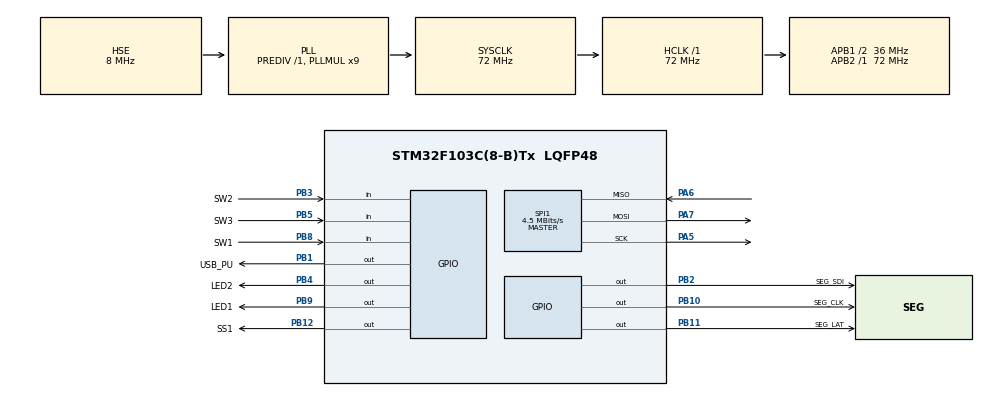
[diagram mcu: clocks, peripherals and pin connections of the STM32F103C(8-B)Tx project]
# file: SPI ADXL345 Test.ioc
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Mcu.Family=STM32F1
Mcu.Name=STM32F103C(8-B)Tx
Mcu.Package=LQFP48
NVIC.PriorityGroup=NVIC_PRIORITYGROUP_4
PA0-WKUP.GPIO_Label=POT1
PA0-WKUP.Signal=ADCx_IN0
PA1.GPIO_Label=POT2
PA1.Signal=ADCx_IN1
PA10.GPIO_Label=RGB_DI
PA10.Signal=S_TIM1_CH3
PA11.Signal=USB_DM
PA12.Signal=USB_DP
PA13.GPIO_Label=SWDIO
PA13.Mode=Serial_Wire
PA13.Signal=SYS_JTMS-SWDIO
PA14.GPIO_Label=SWCLK
PA14.Mode=Serial_Wire
PA14.Signal=SYS_JTCK-SWCLK
PA15.GPIO_Label=BUZ
PA15.Signal=S_TIM2_CH1_ETR
PA2.GPIO_Label=TX2
PA2.Signal=USART2_TX
PA3.GPIO_Label=RX2
PA3.Signal=USART2_RX
PA4.GPIO_Label=POT3
PA4.Signal=ADCx_IN4
PA5.Mode=Full_Duplex_Master
PA5.Signal=SPI1_SCK
PA6.Mode=Full_Duplex_Master
PA6.Signal=SPI1_MISO
PA7.Mode=Full_Duplex_Master
PA7.Signal=SPI1_MOSI
PA8.GPIO_Label=PWM_P
PA8.Signal=S_TIM1_CH1
PB0.GPIO_Label=PWM_B
PB0.Signal=S_TIM3_CH3
PB1.GPIO_Label=USB_PU
PB1.GPIO_Speed=GPIO_SPEED_FREQ_HIGH
PB1.PinState=GPIO_PIN_RESET
PB1.Signal=GPIO_Output
PB10.GPIO_Label=SEG_CLK
PB10.GPIO_ModeDefaultOutputPP=GPIO_MODE_OUTPUT_OD
PB10.GPIO_PuPd=GPIO_NOPULL
PB10.GPIO_Speed=GPIO_SPEED_FREQ_HIGH
PB10.PinState=GPIO_PIN_RESET
PB10.Signal=GPIO_Output
PB11.GPIO_Label=SEG_LAT
PB11.GPIO_ModeDefaultOutputPP=GPIO_MODE_OUTPUT_OD
PB11.GPIO_PuPd=GPIO_NOPULL
PB11.GPIO_Speed=GPIO_SPEED_FREQ_HIGH
PB11.PinState=GPIO_PIN_RESET
PB11.Signal=GPIO_Output
PB12.GPIO_Label=SS1
PB12.PinState=GPIO_PIN_SET
PB12.Signal=GPIO_Output
PB13.GPIO_Label=PWM_N
PB13.Signal=TIM1_CH1N
PB2.GPIO_Label=SEG_SDI
PB2.GPIO_ModeDefaultOutputPP=GPIO_MODE_OUTPUT_OD
PB2.GPIO_PuPd=GPIO_NOPULL
PB2.GPIO_Speed=GPIO_SPEED_FREQ_HIGH
PB2.PinState=GPIO_PIN_RESET
PB2.Signal=GPIO_Output
PB3.GPIO_Label=SW2
PB3.Signal=GPIO_Input
PB4.GPIO_Label=LED2
PB4.GPIO_Speed=GPIO_SPEED_FREQ_HIGH
PB4.PinState=GPIO_PIN_RESET
PB4.Signal=GPIO_Output
PB5.GPIO_Label=SW3
PB5.Signal=GPIO_Input
PB6.GPIO_Label=ROT_A
PB6.Signal=S_TIM4_CH1
PB7.GPIO_Label=ROT_B
PB7.Signal=S_TIM4_CH2
PB8.GPIO_Label=SW1
PB8.Signal=GPIO_Input
PB9.GPIO_Label=LED1
PB9.GPIO_Speed=GPIO_SPEED_FREQ_HIGH
PB9.PinState=GPIO_PIN_RESET
PB9.Signal=GPIO_Output
PD0-OSC_IN.GPIO_Label=OSC_IN
PD0-OSC_IN.Mode=HSE-External-Oscillator
PD0-OSC_IN.Signal=RCC_OSC_IN
PD1-OSC_OUT.GPIO_Label=OSC_OUT
PD1-OSC_OUT.Mode=HSE-External-Oscillator
PD1-OSC_OUT.Signal=RCC_OSC_OUT
ProjectManager.HeapSize=0x200
ProjectManager.StackSize=0x400
ProjectManager.TargetToolchain=MDK-ARM V5.27
RCC.ADCPresc=RCC_ADCPCLK2_DIV6
RCC.AHBFreq_Value=72000000
RCC.APB1CLKDivider=RCC_HCLK_DIV2
RCC.APB1Freq_Value=36000000
RCC.APB1TimFreq_Value=72000000
RCC.APB2Freq_Value=72000000
RCC.APB2TimFreq_Value=72000000
RCC.HCLKFreq_Value=72000000
RCC.PLLMUL=RCC_PLL_MUL9
RCC.PLLSourceVirtual=RCC_PLLSOURCE_HSE
RCC.SYSCLKFreq_VALUE=72000000
RCC.SYSCLKSource=RCC_SYSCLKSOURCE_PLLCLK
RCC.USBFreq_Value=48000000
RCC.USBPrescaler=RCC_USBCLKSOURCE_PLL_DIV1_5
SH.ADCx_IN0.0=ADC1_IN0
SH.ADCx_IN1.0=ADC1_IN1
SH.ADCx_IN4.0=ADC1_IN4
SH.S_TIM1_CH1.0=TIM1_CH1
SH.S_TIM1_CH3.0=TIM1_CH3
SH.S_TIM2_CH1_ETR.0=TIM2_CH1
SH.S_TIM3_CH3.0=TIM3_CH3
SH.S_TIM4_CH1.0=TIM4_CH1
SH.S_TIM4_CH2.0=TIM4_CH2
SPI1.BaudRatePrescaler=SPI_BAUDRATEPRESCALER_16
SPI1.CLKPhase=SPI_PHASE_2EDGE
SPI1.CLKPolarity=SPI_POLARITY_HIGH
SPI1.CalculateBaudRate=4.5 MBits/s
SPI1.Direction=SPI_DIRECTION_2LINES
SPI1.Mode=SPI_MODE_MASTER
SPI1.VirtualType=VM_MASTER
board=custom

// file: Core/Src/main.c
/* USER CODE BEGIN Header */
/**
  ******************************************************************************
  * @file           : main.c
  * @brief          : Main program body
  ******************************************************************************
  * @attention
  *
  * Copyright (c) 2022 STMicroelectronics.
  * All rights reserved.
  *
  * This software is licensed under terms that can be found in the LICENSE file
  * in the root directory of this software component.
  * If no LICENSE file comes with this software, it is provided AS-IS.
  *
  ******************************************************************************
  */
/* USER CODE END Header */
#include "main.h"
#include "spi.h"
#include "gpio.h"

/* USER CODE BEGIN Includes */
#include "ADXL.h"
/* USER CODE END Includes */

void SystemClock_Config(void);

int main(void)
{
  /* USER CODE BEGIN 1 */
	ADXL_InitTypeDef hadxl = {0};
	float data[3] = {0, 0, 0};
  /* USER CODE END 1 */

  /* MCU Configuration--------------------------------------------------------*/

  /* Reset of all peripherals, Initializes the Flash interface and the Systick. */
  HAL_Init();

  /* Configure the system clock */
  SystemClock_Config();

  /* Initialize all configured peripherals */
  MX_GPIO_Init();
  MX_SPI1_Init();
  /* USER CODE BEGIN 2 */
	hadxl.SPIMode = SPIMODE_4WIRE;
	hadxl.IntMode = INT_ACTIVEHIGH;
	hadxl.LPMode = LPMODE_NORMAL;
	hadxl.Rate = BWRATE_800;
	hadxl.Range = RANGE_2G;
	hadxl.Resolution = RESOLUTION_10BIT;
	hadxl.Justify = JUSTIFY_SIGNED;
	hadxl.AutoSleep = AUTOSLEEPOFF;
	hadxl.LinkMode = LINKMODEOFF;
	ADXL_Init(&hadxl);
  /* USER CODE END 2 */

  /* Infinite loop */
  while (1)
  {

    /* USER CODE BEGIN 3 */
		ADXL_Measure(ON);
		uint8_t reg[3]={0,0,0};
		ADXL_test(reg);
		ADXL_getAccel(data, OUTPUT_FLOAT);
  }
  /* USER CODE END 3 */
}

void SystemClock_Config(void)
{
  RCC_OscInitTypeDef RCC_OscInitStruct = {0};
  RCC_ClkInitTypeDef RCC_ClkInitStruct = {0};

  /** Initializes the RCC Oscillators according to the specified parameters
  * in the RCC_OscInitTypeDef structure.
  */
  RCC_OscInitStruct.OscillatorType = RCC_OSCILLATORTYPE_HSE;
  RCC_OscInitStruct.HSEState = RCC_HSE_ON;
  RCC_OscInitStruct.HSEPredivValue = RCC_HSE_PREDIV_DIV1;
  RCC_OscInitStruct.HSIState = RCC_HSI_ON;
  RCC_OscInitStruct.PLL.PLLState = RCC_PLL_ON;
  RCC_OscInitStruct.PLL.PLLSource = RCC_PLLSOURCE_HSE;
  RCC_OscInitStruct.PLL.PLLMUL = RCC_PLL_MUL9;
  if (HAL_RCC_OscConfig(&RCC_OscInitStruct) != HAL_OK)
  {
    Error_Handler();
  }
  /** Initializes the CPU, AHB and APB buses clocks
  */
  RCC_ClkInitStruct.ClockType = RCC_CLOCKTYPE_HCLK|RCC_CLOCKTYPE_SYSCLK
                              |RCC_CLOCKTYPE_PCLK1|RCC_CLOCKTYPE_PCLK2;
  RCC_ClkInitStruct.SYSCLKSource = RCC_SYSCLKSOURCE_PLLCLK;
  RCC_ClkInitStruct.AHBCLKDivider = RCC_SYSCLK_DIV1;
  RCC_ClkInitStruct.APB1CLKDivider = RCC_HCLK_DIV2;
  RCC_ClkInitStruct.APB2CLKDivider = RCC_HCLK_DIV1;

  if (HAL_RCC_ClockConfig(&RCC_ClkInitStruct, FLASH_LATENCY_2) != HAL_OK)
  {
    Error_Handler();
  }
}

void Error_Handler(void)
{
  __disable_irq();
  while (1)
  {
  }
}
